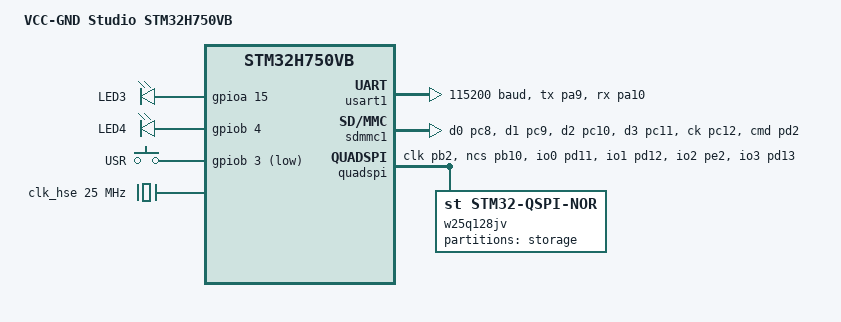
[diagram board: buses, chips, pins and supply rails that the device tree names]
/*
 * Copyright(c) 2024 John Sanpe <sanpeqf@gmail.com>
 *
 * SPDX-License-Identifier: Apache-2.0
 */

/dts-v1/;
#include <st/h7/stm32h750Xb.dtsi>
#include <st/h7/stm32h750vbtx-pinctrl.dtsi>
#include <zephyr/dt-bindings/input/input-event-codes.h>

/ {
	model = "VCC-GND Studio STM32H750VB";
	compatible = "st,stm32h750vb";

	aliases {
		led0 = &yellow_led;
		led1 = &blue_led;
		sw0 = &user_button;
		spi-flash0 = &w25q128jv;
	};

	chosen {
		zephyr,console = &usart1;
		zephyr,shell-uart = &usart1;
		zephyr,sram = &sram0;
		zephyr,flash = &flash0;
		zephyr,flash-controller = &w25q128jv;
	};

	leds {
		compatible = "gpio-leds";
		red_led: led_1 {
			gpios = <&gpioa 13 GPIO_ACTIVE_HIGH>;
			label = "LED1";
			status = "disabled";
		};
		green_led: led_2 {
			gpios = <&gpioa 14 GPIO_ACTIVE_HIGH>;
			label = "LED2";
			status = "disabled";
		};
		yellow_led: led_3 {
			gpios = <&gpioa 15 GPIO_ACTIVE_HIGH>;
			label = "LED3";
		};
		blue_led: led_4 {
			gpios = <&gpiob 4 GPIO_ACTIVE_HIGH>;
			label = "LED4";
		};
	};

	gpio_keys {
		compatible = "gpio-keys";
		user_button: button {
			gpios = <&gpiob 3 (GPIO_ACTIVE_LOW | GPIO_PULL_UP)>;
			zephyr,code = <INPUT_KEY_0>;
			label = "USR";
		};
	};
};

&clk_hse {
	clock-frequency = <DT_FREQ_M(25)>;
	status = "okay";
};

&clk_lse {
	status = "okay";
};

&pll {
	div-m = <5>;
	mul-n = <192>;
	div-p = <2>;
	div-q = <4>;
	div-r = <4>;
	clocks = <&clk_hse>;
	status = "okay";
};

&rcc {
	clocks = <&pll>;
	clock-frequency = <DT_FREQ_M(480)>;
	d1cpre = <1>;
	hpre = <2>;
	d1ppre = <2>;
	d2ppre1 = <2>;
	d2ppre2 = <2>;
	d3ppre = <2>;
};

&usart1 {
	pinctrl-names = "default";
	pinctrl-0 = <&usart1_tx_pa9 &usart1_rx_pa10>;
	current-speed = <115200>;
	status = "okay";
};

&sdmmc1 {
	pinctrl-names = "default";
	pinctrl-0 = <&sdmmc1_d0_pc8 &sdmmc1_d1_pc9
		     &sdmmc1_d2_pc10 &sdmmc1_d3_pc11
		     &sdmmc1_ck_pc12 &sdmmc1_cmd_pd2>;
	cd-gpios = <&gpioa 8 GPIO_ACTIVE_LOW>;
	status = "okay";
};

&quadspi {
	pinctrl-names = "default";
	pinctrl-0 = <&quadspi_clk_pb2 &quadspi_bk1_ncs_pb10
		     &quadspi_bk1_io0_pd11 &quadspi_bk1_io1_pd12
		     &quadspi_bk1_io2_pe2 &quadspi_bk1_io3_pd13>;
	status = "okay";

	w25q128jv: qspi-nor-flash@90000000 {
		compatible = "st,stm32-qspi-nor";
		reg = <0x90000000 DT_SIZE_M(16)>;
		qspi-max-frequency = <80000000>;
		spi-bus-width = <4>;
		status = "okay";

		partitions {
			compatible = "fixed-partitions";
			#address-cells = <1>;
			#size-cells = <1>;

			storage_partition: partition@0 {
				label = "storage";
				reg = <0x0 DT_SIZE_M(16)>;
			};
		};
	};
};
